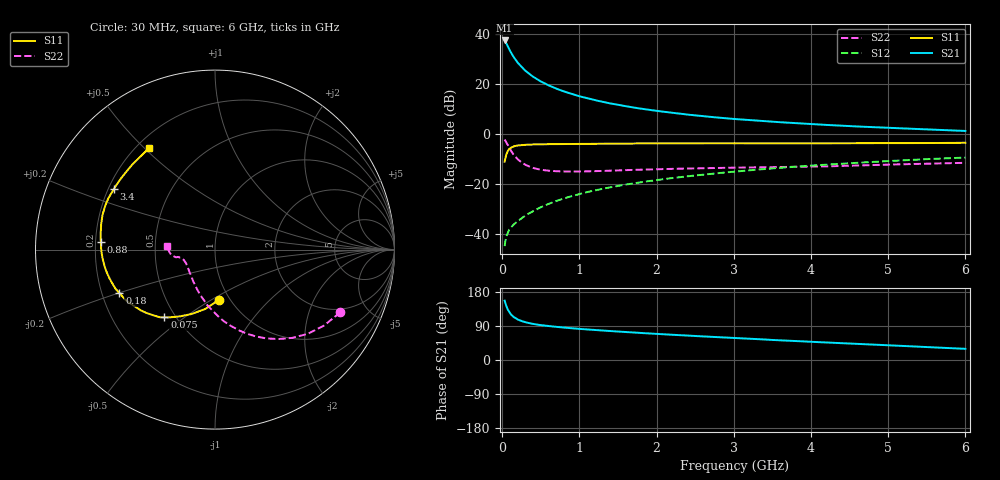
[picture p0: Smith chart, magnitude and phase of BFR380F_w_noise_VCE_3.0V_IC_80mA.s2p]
! Infineon Technologies  Discrete & RF Semiconductors
! BFR380F
! VCE =  3.0 V,  IC =  80 mA
! Common Emitter S-Parameters:  Nov 2015
# GHz  S  MA  R  50
!  f  S11  S21  S12  S22
! GHz  MAG  ANG  MAG  ANG  MAG  ANG  MAG  ANG
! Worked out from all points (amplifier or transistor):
!   206 points, 30 MHz to 6 GHz, reference 50 ohm
!   highest |S21| = 37.6 dB at 30 MHz (marker M1)
!   |S21| within 3 dB of that: start of sweep to 81.44 MHz
!   unconditionally stable (mu >= 1): 583.4 MHz to 4.814 GHz
!   at 200 MHz: K = 0.75, MSG = 31.8 dB, |S12| = -34.8 dB
!   at 1.56 GHz: K = 1.06, MAG = 14.4 dB, |S12| = -20.4 dB
!   at 6 GHz: K = 0.98, MSG = 5.3 dB, |S12| = -9.4 dB
!   lowest NFmin = 1.95 dB at 450 MHz
!   S11 on the Smith chart (normalised r, x): 30 MHz: 0.89, -0.54; 75 MHz: 0.44, -0.42; 180 MHz: 0.27, -0.20; 880 MHz: 0.22, +0.03; 3.4 GHz: 0.22, +0.26; 6 GHz: 0.25, +0.52
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0.03  0.2815 -85.8  75.84 156.6  0.0057 75.1  0.7803 -26.6
0.04  0.3349 -99.2  71.7 149.8  0.0072 71.2  0.7409 -34.8
0.05  0.3819 -110.0  67.34 143.4  0.0085 66.3  0.6979 -42.3
0.065  0.4379 -121.1  60.38 136.1  0.01 63.0  0.6306 -51.7
0.075  0.4713 -126.8  56.22 131.9  0.0109 61.3  0.5896 -57.4
0.1  0.5216 -137.6  47.13 123.5  0.0127 59.4  0.5025 -69.0
0.12  0.5456 -144.0  41.42 118.6  0.0139 58.1  0.447 -76.5
0.15  0.5727 -150.9  34.78 113.1  0.0156 58.3  0.3844 -85.6
0.18  0.5852 -155.5  30.13 109.7  0.0171 59.4  0.3411 -92.1
0.2  0.5956 -158.5  27.11 106.8  0.0181 60.0  0.3152 -97.4
0.26  0.608 -164.2  21.49 102.1  0.0212 62.6  0.2659 -107.9
0.3  0.6144 -167.1  18.69 99.5  0.0234 64.1  0.2434 -114.1
0.4  0.6231 -172.2  14.19 95.1  0.0288 67.3  0.2112 -125.8
0.6  0.6321 -178.3  9.547 89.5  0.0402 71.1  0.1858 -141.3
0.88  0.638 176.2  6.558 84.2  0.0563 73.1  0.1788 -153.2
1.04  0.6408 173.6  5.559 81.5  0.0656 73.7  0.1795 -157.4
2.02  0.6561 162.0  2.913 68.7  0.1218 72.4  0.1989 -166.9
3.1  0.6581 151.9  1.974 57.2  0.1833 68.6  0.2143 -168.9
3.4  0.6573 149.0  1.826 54.1  0.2008 67.3  0.2169 -168.7
4.1  0.657 142.1  1.566 47.1  0.2404 63.9  0.2248 -169.3
5.1  0.6615 132.7  1.325 37.9  0.295 58.7  0.2483 -174.4
6  0.6747 122.9  1.163 29.5  0.3408 53.1  0.2672 175.3
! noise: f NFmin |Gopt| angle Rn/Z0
0.45  1.95  0.5  -173  0.08
0.9  1.97  0.53  -170  0.08
1.8  2.31  0.57  -158  0.12
1.9  2.43  0.58  -158  0.12
2.4  2.52  0.58  -149  0.18
3.5  3.31  0.61  -139  0.36
